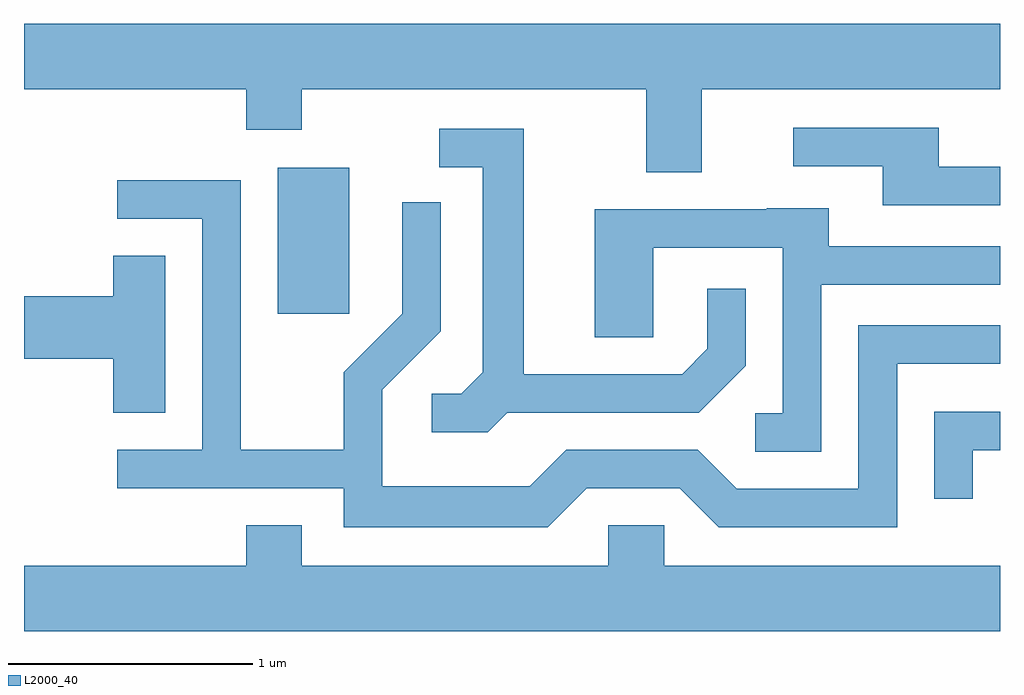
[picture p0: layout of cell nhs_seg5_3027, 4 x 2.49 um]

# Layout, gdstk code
import gdstk
lib = gdstk.Library(unit=1e-6, precision=1e-09)
def R(c, l, rs):  # rectangles x0, y0, x1, y1
    for r in rs: c.add(gdstk.rectangle(r[:2], r[2:], *l))
def P(c, l, *ps):  # polygons
    for p in ps: c.add(gdstk.Polygon(p, *l))
L2000_40 = (2000, 40)

nhs_seg5_3027 = lib.new_cell('nhs_seg5_3027')
R(nhs_seg5_3027, L2000_40, [(276.651,1422.576,276.944,1423.174)])
P(nhs_seg5_3027, L2000_40, [(278.389,1423.496),(279.611,1423.496),(279.611,1423.764),(275.611,1423.764),(275.611,1423.496),(276.521,1423.496),(276.521,1423.331),(276.749,1423.331),(276.749,1423.496),(278.161,1423.496),(278.161,1423.156),(278.389,1423.156)],
  [(279.611,1423.179),(279.359,1423.179),(279.359,1423.339),(278.763,1423.339),(278.763,1423.181),(279.131,1423.181),(279.131,1423.021),(279.611,1423.021)],
  [(277.592,1422.171),(278.377,1422.171),(278.569,1422.364),(278.569,1422.678),(278.411,1422.678),(278.411,1422.432),(278.309,1422.329),(277.659,1422.329),(277.659,1423.334),(277.313,1423.334),(277.313,1423.176),(277.491,1423.176),(277.491,1422.337),(277.404,1422.249),(277.283,1422.249),(277.283,1422.091),(277.512,1422.091)],
  [(277.917,1421.861),(278.299,1421.861),(278.459,1421.701),(279.189,1421.701),(279.189,1422.371),(279.611,1422.371),(279.611,1422.529),(279.031,1422.529),(279.031,1421.859),(278.532,1421.859),(278.372,1422.019),(277.834,1422.019),(277.684,1421.869),(277.079,1421.869),(277.079,1422.264),(277.319,1422.504),(277.319,1423.033),(277.161,1423.033),(277.161,1422.577),(276.921,1422.337),(276.921,1422.019),(276.499,1422.019),(276.499,1423.124),(275.993,1423.124),(275.993,1422.966),(276.341,1422.966),(276.341,1422.019),(275.993,1422.019),(275.993,1421.861),(276.921,1421.861),(276.921,1421.701),(277.757,1421.701)],
  [(278.879,1422.696),(279.611,1422.696),(279.611,1422.854),(278.909,1422.854),(278.909,1423.009),(278.655,1423.009),(278.655,1423.004),(277.951,1423.004),(277.951,1422.481),(278.189,1422.481),(278.189,1422.846),(278.721,1422.846),(278.721,1422.169),(278.608,1422.169),(278.608,1422.011),(278.879,1422.011)],
  [(276.189,1422.814),(275.976,1422.814),(275.976,1422.649),(275.611,1422.649),(275.611,1422.391),(275.976,1422.391),(275.976,1422.171),(276.189,1422.171)],
  [(279.499,1422.016),(279.611,1422.016),(279.611,1422.174),(279.341,1422.174),(279.341,1421.818),(279.499,1421.818)],
  [(279.611,1421.544),(278.234,1421.544),(278.234,1421.709),(278.006,1421.709),(278.006,1421.544),(276.749,1421.544),(276.749,1421.709),(276.521,1421.709),(276.521,1421.544),(275.611,1421.544),(275.611,1421.276),(279.611,1421.276)])

lib.write_gds('nhs_seg5_3027.gds')
